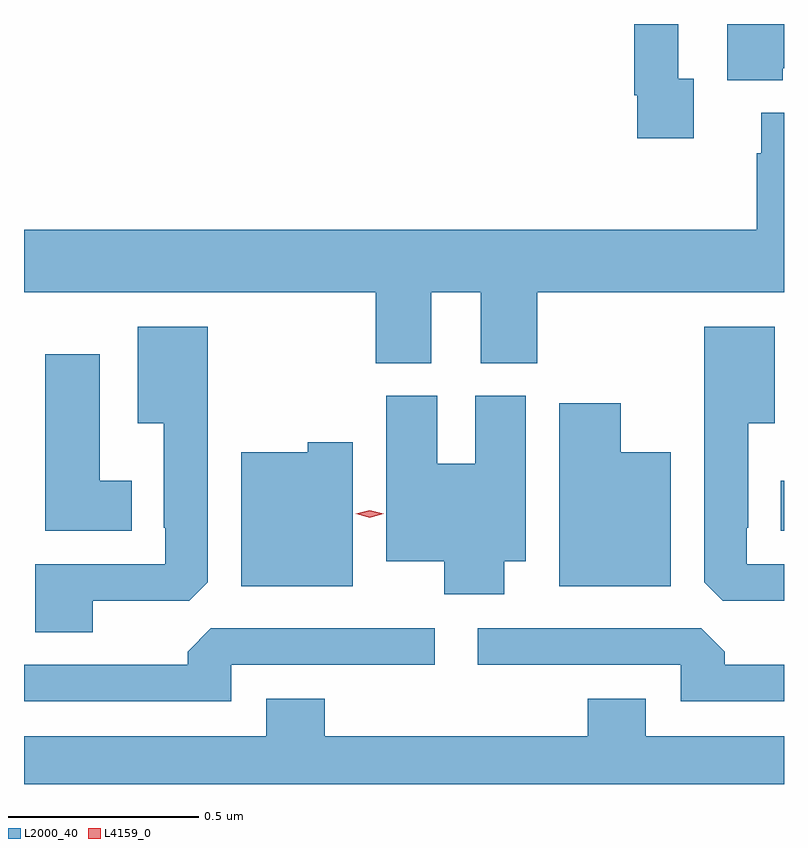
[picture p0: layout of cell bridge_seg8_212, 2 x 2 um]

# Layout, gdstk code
import gdstk
lib = gdstk.Library(unit=1e-6, precision=1e-09)
def R(c, l, rs):  # rectangles x0, y0, x1, y1
    for r in rs: c.add(gdstk.rectangle(r[:2], r[2:], *l))
def P(c, l, *ps):  # polygons
    for p in ps: c.add(gdstk.Polygon(p, *l))
L2000_40 = (2000, 40)
L4159_0 = (4159, 0)

bridge_seg8_212 = lib.new_cell('bridge_seg8_212')
R(bridge_seg8_212, L2000_40, [(159.062,1121.201,159.071,1121.332)])
P(bridge_seg8_212, L2000_40, [(158.833,1122.39),(158.793,1122.39),(158.793,1122.534),(158.677,1122.534),(158.677,1122.346),(158.685,1122.346),(158.685,1122.234),(158.833,1122.234)],
  [(159.068,1122.417),(159.071,1122.417),(159.071,1122.534),(158.921,1122.534),(158.921,1122.386),(159.068,1122.386)],
  [(158.143,1121.828),(158.273,1121.828),(158.273,1121.641),(158.421,1121.641),(158.421,1121.828),(159.071,1121.828),(159.071,1122.301),(159.011,1122.301),(159.011,1122.194),(158.999,1122.194),(158.999,1121.992),(157.071,1121.992),(157.071,1121.828),(157.996,1121.828),(157.996,1121.641),(158.143,1121.641)],
  [(157.252,1121.016),(157.506,1121.016),(157.555,1121.065),(157.555,1121.737),(157.37,1121.737),(157.37,1121.483),(157.439,1121.483),(157.439,1121.209),(157.443,1121.209),(157.443,1121.112),(157.1,1121.112),(157.1,1120.933),(157.252,1120.933)],
  [(159.071,1121.112),(158.973,1121.112),(158.973,1121.209),(158.977,1121.209),(158.977,1121.483),(159.046,1121.483),(159.046,1121.737),(158.861,1121.737),(158.861,1121.065),(158.91,1121.016),(159.071,1121.016)],
  [(157.354,1121.332),(157.27,1121.332),(157.27,1121.665),(157.127,1121.665),(157.127,1121.201),(157.354,1121.201)],
  [(158.335,1121.12),(158.392,1121.12),(158.392,1121.556),(158.258,1121.556),(158.258,1121.377),(158.158,1121.377),(158.158,1121.556),(158.024,1121.556),(158.024,1121.12),(158.177,1121.12),(158.177,1121.033),(158.335,1121.033)],
  [(158.773,1121.407),(158.641,1121.407),(158.641,1121.536),(158.48,1121.536),(158.48,1121.054),(158.773,1121.054)],
  [(157.936,1121.434),(157.818,1121.434),(157.818,1121.407),(157.643,1121.407),(157.643,1121.054),(157.936,1121.054)],
  [(157.617,1120.848),(158.152,1120.848),(158.152,1120.944),(157.563,1120.944),(157.502,1120.882),(157.502,1120.848),(157.071,1120.848),(157.071,1120.752),(157.617,1120.752)],
  [(159.071,1120.848),(158.915,1120.848),(158.915,1120.882),(158.853,1120.944),(158.265,1120.944),(158.265,1120.848),(158.799,1120.848),(158.799,1120.752),(159.071,1120.752)],
  [(159.071,1120.66),(158.707,1120.66),(158.707,1120.759),(158.555,1120.759),(158.555,1120.66),(157.862,1120.66),(157.862,1120.759),(157.709,1120.759),(157.709,1120.66),(157.071,1120.66),(157.071,1120.534),(159.071,1120.534)])
P(bridge_seg8_212, L4159_0, [(157.981,1121.235),(157.944,1121.245),(157.943,1121.245),(157.944,1121.245),(157.981,1121.255),(158.018,1121.245),(158.018,1121.245),(158.018,1121.245)])

lib.write_gds('bridge_seg8_212.gds')
